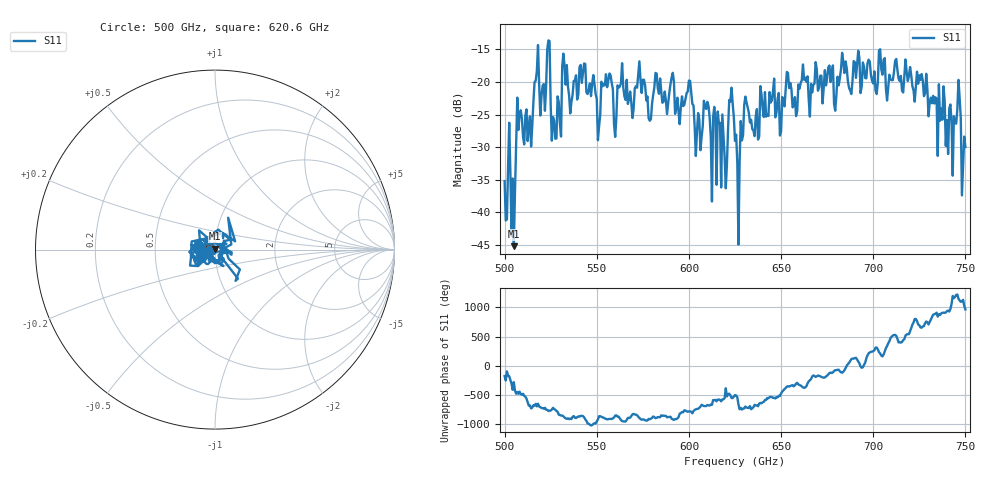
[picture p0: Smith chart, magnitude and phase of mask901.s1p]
!Created with skrf (http://scikit-rf.org).
# GHz S MA R 50.0
!freq magS11 angS11
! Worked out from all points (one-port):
!   401 points, 500 GHz to 750 GHz, reference 50 ohm
!   lowest |S11| = -45.2 dB at 505 GHz (marker M1), VSWR 1.01, Z = 50.1 + j0.537 ohm
!   |S11| at or under -10 dB: start of sweep to end of sweep
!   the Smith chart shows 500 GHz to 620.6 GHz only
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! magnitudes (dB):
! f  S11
! 500 GHz  -35.2
! 505 GHz  -45.2
! 507.5 GHz  -27.4
! 513.8 GHz  -25.3
! 517.5 GHz  -18.3
! 520.6 GHz  -20.6
! 523.8 GHz  -13.6
! 526.9 GHz  -25.9
! 531.2 GHz  -17.6
! 542.5 GHz  -18.7
! 550.6 GHz  -29.0
! 562.5 GHz  -20.7
! 590.6 GHz  -19.3
! 593.8 GHz  -22.4
! 600 GHz  -19.8
! 605 GHz  -24.8
! 609.4 GHz  -24.2
! 618.8 GHz  -28.2
! 622.5 GHz  -23.0
! 625 GHz  -29.0
! 626.2 GHz  -32.4
! 631.2 GHz  -23.1
! 656.2 GHz  -23.9
! 687.5 GHz  -21.3
! 718.8 GHz  -19.8
! 741.9 GHz  -23.5
! 746.2 GHz  -19.7
! 750 GHz  -30.0
